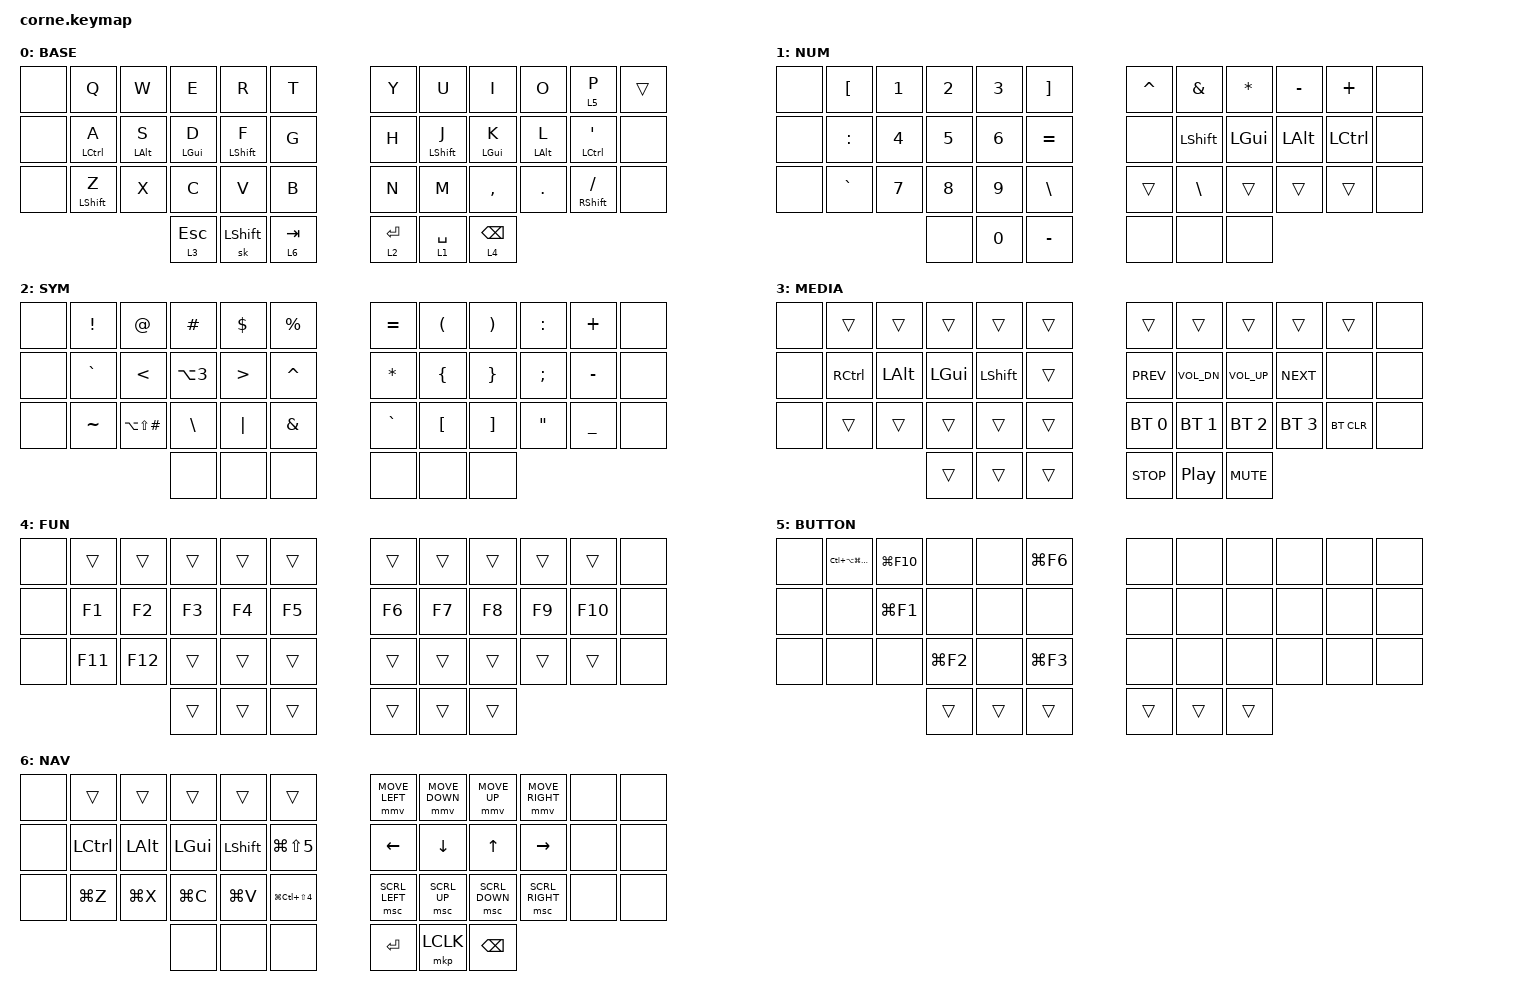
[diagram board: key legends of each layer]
/*
 * Copyright (c) 2020 The ZMK Contributors
 *
 * SPDX-License-Identifier: MIT
 */

#include <behaviors/mouse_keys.dtsi>
#include <behaviors.dtsi>
#include <dt-bindings/zmk/bt.h>
#include <dt-bindings/zmk/keys.h>
#include <dt-bindings/zmk/pointing.h>

#define U_TAPPING_TERM 200
#define VOICE_HOTKEY LC(LA(LG(LS(F13))))

&mt {
    compatible = "zmk,behavior-hold-tap";
    label = "u_mt";
    #binding-cells = <2>;
    tapping_term_ms = <U_TAPPING_TERM>;
    flavor = "tap-preferred";
    bindings = <&kp>, <&kp>;
};

&lt {
    compatible = "zmk,behavior-hold-tap";
    label = "u_lt";
    #binding-cells = <2>;
    tapping_term_ms = <U_TAPPING_TERM>;
    flavor = "tap-preferred";
    bindings = <&mo>, <&kp>;
};

&caps_word { continue-list = <UNDERSCORE MINUS BACKSPACE>; };

&mmv {
    time-to-max-speed-ms = <1500>;
    delay-ms = <0>;
};

/ {
    kscan: kscan {
        compatible = "zmk,kscan-gpio-matrix";
        diode-direction = "col2row";
        wakeup-source;
    };

    combos {
        compatible = "zmk,combos";

        caps_word {
            bindings = <&caps_word>;
            key-positions = <16 19>;
            layers = <0>;
        };
    };

    behaviors {
    };

    keymap {
        compatible = "zmk,keymap";

        BASE {
            bindings = <
&none  &kp Q        &kp W           &kp E           &kp R             &kp T        &kp Y      &kp U             &kp I           &kp O           &lt 5 P                        &trans
&none  &mt LCTRL A  &mt LEFT_ALT S  &mt LEFT_GUI D  &mt LEFT_SHIFT F  &kp G        &kp H      &mt LEFT_SHIFT J  &mt LEFT_GUI K  &mt LEFT_ALT L  &mt LEFT_CONTROL SINGLE_QUOTE  &none
&none  &mt LSHFT Z  &kp X           &kp C           &kp V             &kp B        &kp N      &kp M             &kp COMMA       &kp DOT         &mt RSHFT SLASH                &none
                                    &lt 3 ESC       &sk LEFT_SHIFT    &lt 6 TAB    &lt 2 RET  &lt 1 SPACE       &lt 4 BSPC
            >;
        };

        NUM {
            bindings = <
&none  &kp LBKT   &kp N1  &kp N2  &kp N3  &kp RBKT     &kp CARET  &kp AMPS   &kp ASTRK     &kp MINUS  &kp PLUS   &none
&none  &kp COLON  &kp N4  &kp N5  &kp N6  &kp EQUAL    &none      &kp LSHFT  &kp LEFT_GUI  &kp LALT   &kp LCTRL  &none
&none  &kp GRAVE  &kp N7  &kp N8  &kp N9  &kp BSLH     &trans     &kp BSLH   &trans        &trans     &trans     &none
                          &none   &kp N0  &kp MINUS    &none      &none      &none
            >;
        };

        SYM {
            bindings = <
&none  &kp EXCL   &kp AT             &kp HASH          &kp DLLR          &kp PRCNT        &kp EQUAL     &kp LPAR  &kp RPAR  &kp COLON          &kp PLUS        &none
&none  &kp GRAVE  &kp LESS_THAN      &kp LA(NUMBER_3)  &kp GREATER_THAN  &kp CARET        &kp ASTERISK  &kp LBRC  &kp RBRC  &kp SEMICOLON      &kp MINUS       &none
&none  &kp TILDE  &kp LA(LS(POUND))  &kp BACKSLASH     &kp PIPE          &kp AMPERSAND    &kp GRAVE     &kp LBKT  &kp RBKT  &kp DOUBLE_QUOTES  &kp UNDERSCORE  &none
                                     &none             &none             &none            &none         &none     &none
            >;
        };

        MEDIA {
            bindings = <
&none  &trans     &trans    &trans    &trans     &trans    &trans        &trans            &trans        &trans        &trans      &none
&none  &kp RCTRL  &kp LALT  &kp LGUI  &kp LSHFT  &trans    &kp C_PREV    &kp C_VOL_DN      &kp C_VOL_UP  &kp C_NEXT    &none       &none
&none  &trans     &trans    &trans    &trans     &trans    &bt BT_SEL 0  &bt BT_SEL 1      &bt BT_SEL 2  &bt BT_SEL 3  &bt BT_CLR  &none
                            &trans    &trans     &trans    &kp C_STOP    &kp C_PLAY_PAUSE  &kp C_MUTE
            >;
        };

        FUN {
            bindings = <
&none  &trans   &trans   &trans  &trans  &trans    &trans  &trans  &trans  &trans  &trans   &none
&none  &kp F1   &kp F2   &kp F3  &kp F4  &kp F5    &kp F6  &kp F7  &kp F8  &kp F9  &kp F10  &none
&none  &kp F11  &kp F12  &trans  &trans  &trans    &trans  &trans  &trans  &trans  &trans   &none
                         &trans  &trans  &trans    &trans  &trans  &trans
            >;
        };

        BUTTON {
            bindings = <
&none  &kp VOICE_HOTKEY  &kp LG(F10)  &none       &none   &kp LG(F6)    &none   &none   &none   &none  &none  &none
&none  &none  &kp LG(F1)   &none       &none   &none         &none   &none   &none   &none  &none  &none
&none  &none  &none        &kp LG(F2)  &none   &kp LG(F3)    &none   &none   &none   &none  &none  &none
                           &trans      &trans  &trans        &trans  &trans  &trans
            >;
        };

        NAV {
            bindings = <
&none  &trans     &trans     &trans     &trans     &trans                &mmv MOVE_LEFT  &mmv MOVE_DOWN  &mmv MOVE_UP    &mmv MOVE_RIGHT  &none  &none
&none  &kp LCTRL  &kp LALT   &kp LGUI   &kp LSHFT  &kp LG(LS(N5))        &kp LEFT        &kp DOWN        &kp UP          &kp RIGHT        &none  &none
&none  &kp LG(Z)  &kp LG(X)  &kp LG(C)  &kp LG(V)  &kp LG(LC(LS(N4)))    &msc SCRL_LEFT  &msc SCRL_UP    &msc SCRL_DOWN  &msc SCRL_RIGHT  &none  &none
                             &none      &none      &none                 &kp ENTER       &mkp LCLK       &kp BACKSPACE
            >;
        };
    };
};
